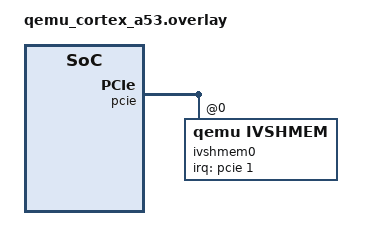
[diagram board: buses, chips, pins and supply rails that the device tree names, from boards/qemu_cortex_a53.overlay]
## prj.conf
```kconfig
CONFIG_HEAP_MEM_POOL_SIZE=16777216

CONFIG_LOG=y
CONFIG_LOG_MODE_IMMEDIATE=y
CONFIG_LOG_BACKEND_UART=y

CONFIG_POSIX_API=y

CONFIG_LOG_PRINTK=y

CONFIG_ETHERNET_LOG_LEVEL_INF=y
CONFIG_IVSHMEM_LOG_LEVEL_INF=y

CONFIG_NETWORKING=y
CONFIG_NET_L2_ETHERNET=y
CONFIG_ETH_IVSHMEM=y
CONFIG_NET_STATISTICS=y

CONFIG_NET_SOCKETS=y
CONFIG_NET_TCP=y
CONFIG_NET_IPV6=y
CONFIG_NET_IPV4=y
CONFIG_NET_ARP=y
CONFIG_NET_UDP=y
CONFIG_NET_DHCPV4=y
CONFIG_NET_DHCPV4_OPTION_CALLBACKS=y
CONFIG_NET_TCP_ISN_RFC6528=n

CONFIG_NET_MGMT=y
CONFIG_NET_MGMT_EVENT=y

CONFIG_NET_LOG=y
CONFIG_LOG=y

CONFIG_NET_SOCKETS_POLL_MAX=9

CONFIG_ENTROPY_GENERATOR=y
CONFIG_TEST_RANDOM_GENERATOR=y

CONFIG_INIT_STACKS=y

CONFIG_SLIP_STATISTICS=n
CONFIG_SLIP=n

CONFIG_SHELL=y
CONFIG_NET_SHELL=y
CONFIG_NET_ZPERF=y

CONFIG_NET_TCP_WORKQ_STACK_SIZE=4096
CONFIG_NET_RX_STACK_SIZE=4096
CONFIG_SHELL_STACK_SIZE=4096

CONFIG_NET_TCP_MAX_RECV_WINDOW_SIZE=5120
CONFIG_NET_PKT_TX_COUNT=60
CONFIG_NET_BUF_RX_COUNT=20


CONFIG_STATIC_INIT_GNU=y

########################
##COPIED BOARD OVERLAY##
########################

# Jailhouse requires ARMv8-A non-secure mode
CONFIG_ARMV8_A_NS=y

# QEMU PCI requires at least 256M of virtual space
CONFIG_KERNEL_VM_SIZE=0x80000000

# QEMU PCI requires physical addresses with more than 32 bits
CONFIG_ARM64_VA_BITS_40=y
CONFIG_ARM64_PA_BITS_40=y

# PCIe config
CONFIG_PCIE_CONTROLLER=y
CONFIG_PCIE_ECAM=y

# Required for PCIe INTx interrupts
CONFIG_DYNAMIC_INTERRUPTS=y

# Disable unwanted default configs
CONFIG_NET_DRIVERS=n
CONFIG_NET_SLIP_TAP=n
```

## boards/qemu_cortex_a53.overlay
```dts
/*
 * Copyright (c) 2023 Enphase Energy
 *
 * SPDX-License-Identifier: Apache-2.0
 */

/ {
	soc {
		/delete-node/ memory@40000000;

		sram0: memory@70000000 {
			compatible = "mmio-sram";
			reg = <0x0 0x70000000 0x0 DT_SIZE_M(128)>;
		};

		/delete-node/ pcie@4010000000;

		pcie: pcie@8e00000 {
			compatible = "pci-host-ecam-generic";
			device_type = "pci";
			reg = <0x00 0x08e00000 0x00 0x100000>;
			#size-cells = <0x02>;
			#address-cells = <0x03>;
			ranges = <0x02000000 0x00 0x10000000 0x0 0x10000000 0x00 0x10000>;
			#interrupt-cells = <0x01>;
			interrupt-map-mask = <0x00 0x00 0x00 0x07>;
			interrupt-map = <
				0x00 0x00 0x00 1 &gic 0 0 GIC_SPI 108 IRQ_TYPE_EDGE IRQ_DEFAULT_PRIORITY
				0x00 0x00 0x00 2 &gic 0 0 GIC_SPI 109 IRQ_TYPE_EDGE IRQ_DEFAULT_PRIORITY
				0x00 0x00 0x00 3 &gic 0 0 GIC_SPI 110 IRQ_TYPE_EDGE IRQ_DEFAULT_PRIORITY
				0x00 0x00 0x00 4 &gic 0 0 GIC_SPI 111 IRQ_TYPE_EDGE IRQ_DEFAULT_PRIORITY>;
			bus-range = <0x00 0x00>;
		};
	};

	eth_ivshmem0: eth_ivshmem {
		compatible = "siemens,ivshmem-eth";
		ivshmem-v2 = <&ivshmem0>;
		zephyr,random-mac-address;
		status = "okay";
	};
};

&pcie {
	ivshmem0: ivshmem@0 {
		compatible = "qemu,ivshmem";
		ivshmem-v2;
		vendor-id = <0x110A>;           /* Siemens */
		device-id = <0x4106>;           /* IVSHMEM */
		class-rev = <0xFF000100>;       /* PCI_CLASS_OTHERS | IVSHMEM_PROTO_NET */
		class-rev-mask = <0xFFFFFF00>;  /* PCI_CLASS_MASK | IVSHMEM_PROTO_MASK */
		interrupt-parent = <&pcie>;
		interrupts = <1 2 3 4>;
		reg = <0x00 0x00 0x00 0x00 0x01>;
		status = "okay";
	};
};
```

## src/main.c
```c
#include <rcl/rcl.h>
#include <rcl/error_handling.h>
#include <rclc/rclc.h>
#include <rclc/executor.h>

#include <rmw_microros/rmw_microros.h>
#include <microros_transports.h>

#include <std_msgs/msg/header.h>

#include <stdio.h>
#include <unistd.h>
#include <time.h>

#include <zephyr/device.h>
#include <zephyr/kernel.h>
#include <string.h>
#include <zephyr/logging/log.h>
LOG_MODULE_REGISTER(net_dhcpv4_client_sample, LOG_LEVEL_DBG);
#include <zephyr/linker/sections.h>
#include <errno.h>
#include <zephyr/net/net_if.h>
#include <zephyr/net/net_core.h>
#include <zephyr/net/net_context.h>
#include <zephyr/net/net_mgmt.h>
#include <zephyr.h>

#define STRING_BUFFER_LEN 50

#define RCCHECK(fn) { rcl_ret_t temp_rc = fn; if((temp_rc != RCL_RET_OK)){printf("Failed status on line %d: %d. Aborting.\n",__LINE__,(int)temp_rc); return 1;}}
#define RCSOFTCHECK(fn) { rcl_ret_t temp_rc = fn; if((temp_rc != RCL_RET_OK)){printf("Failed status on line %d: %d. Continuing.\n",__LINE__,(int)temp_rc);}}

#define DHCP_OPTION_NTP (42)

static uint8_t ntp_server[4];

static struct net_mgmt_event_callback mgmt_cb;

static struct net_dhcpv4_option_callback dhcp_cb;

rcl_publisher_t ping_publisher;
rcl_publisher_t pong_publisher;
rcl_subscription_t ping_subscriber;
rcl_subscription_t pong_subscriber;

std_msgs__msg__Header incoming_ping;
std_msgs__msg__Header outcoming_ping;
std_msgs__msg__Header incoming_pong;

int device_id;
int seq_no;
int pong_count;

void ping_timer_callback(rcl_timer_t * timer, int64_t last_call_time)
{
	(void) last_call_time;

	if (timer != NULL) {

		seq_no = rand();
		sprintf(outcoming_ping.frame_id.data, "%d_%d", seq_no, device_id);
		outcoming_ping.frame_id.size = strlen(outcoming_ping.frame_id.data);
		
		// Fill the message timestamp
		struct timespec ts;
		clock_gettime(CLOCK_REALTIME, &ts);
		outcoming_ping.stamp.sec = ts.tv_sec;
		outcoming_ping.stamp.nanosec = ts.tv_nsec;

		// Reset the pong count and publish the ping message
		pong_count = 0;
		rcl_publish(&ping_publisher, (const void*)&outcoming_ping, NULL);
		printf("Ping send seq %s\n", outcoming_ping.frame_id.data);  
	}
}

void ping_subscription_callback(const void * msgin)
{
	const std_msgs__msg__Header * msg = (const std_msgs__msg__Header *)msgin;

	// Dont pong my own pings
	if(strcmp(outcoming_ping.frame_id.data, msg->frame_id.data) != 0){
		printf("Ping received with seq %s. Answering.\n", msg->frame_id.data);
		rcl_publish(&pong_publisher, (const void*)msg, NULL);
	}
}


void pong_subscription_callback(const void * msgin)
{
	const std_msgs__msg__Header * msg = (const std_msgs__msg__Header *)msgin;

	if(strcmp(outcoming_ping.frame_id.data, msg->frame_id.data) == 0) {
			pong_count++;
			printf("Pong for seq %s (%d)\n", msg->frame_id.data, pong_count);
	}
}


static void start_dhcpv4_client(struct net_if *iface, void *user_data)
{
	ARG_UNUSED(user_data);

	LOG_INF("Start on %s: index=%d", net_if_get_device(iface)->name,
		net_if_get_by_iface(iface));
	net_dhcpv4_start(iface);
}

static void handler(struct net_mgmt_event_callback *cb,
		    uint32_t mgmt_event,
		    struct net_if *iface)
{
	int i = 0;

	if (mgmt_event != NET_EVENT_IPV4_ADDR_ADD) {
		return;
	}

	for (i = 0; i < NET_IF_MAX_IPV4_ADDR; i++) {
		char buf[NET_IPV4_ADDR_LEN];

		if (iface->config.ip.ipv4->unicast[i].ipv4.addr_type !=
							NET_ADDR_DHCP) {
			continue;
		}

		LOG_INF("   Address[%d]: %s", net_if_get_by_iface(iface),
			net_addr_ntop(AF_INET,
			    &iface->config.ip.ipv4->unicast[i].ipv4.address.in_addr,
						  buf, sizeof(buf)));
		LOG_INF("    Subnet[%d]: %s", net_if_get_by_iface(iface),
			net_addr_ntop(AF_INET,
				       &iface->config.ip.ipv4->unicast[i].netmask,
				       buf, sizeof(buf)));
		LOG_INF("    Router[%d]: %s", net_if_get_by_iface(iface),
			net_addr_ntop(AF_INET,
						 &iface->config.ip.ipv4->gw,
						 buf, sizeof(buf)));
		LOG_INF("Lease time[%d]: %u seconds", net_if_get_by_iface(iface),
			iface->config.dhcpv4.lease_time);
	}
}

static void option_handler(struct net_dhcpv4_option_callback *cb,
			   size_t length,
			   enum net_dhcpv4_msg_type msg_type,
			   struct net_if *iface)
{
	char buf[NET_IPV4_ADDR_LEN];

	LOG_INF("DHCP Option %d: %s", cb->option,
		net_addr_ntop(AF_INET, cb->data, buf, sizeof(buf)));
}



void main(void)
{

	LOG_INF("Run dhcpv4 client");

	net_mgmt_init_event_callback(&mgmt_cb, handler,
				     NET_EVENT_IPV4_ADDR_ADD);
	net_mgmt_add_event_callback(&mgmt_cb);

	net_dhcpv4_init_option_callback(&dhcp_cb, option_handler,
					DHCP_OPTION_NTP, ntp_server,
					sizeof(ntp_server));

	net_dhcpv4_add_option_callback(&dhcp_cb);

	net_if_foreach(start_dhcpv4_client, NULL);


	// Set custom transports
	rmw_uros_set_custom_transport(
		MICRO_ROS_FRAMING_REQUIRED,
		(void *) &default_params,
		zephyr_transport_open,
		zephyr_transport_close,
		zephyr_transport_write,
		zephyr_transport_read
	);


	// Init micro-ROS
	rcl_allocator_t allocator = rcl_get_default_allocator();
	rclc_support_t support;


	// create init_options, QUESTA FUNZIONE FALLISCE SEMPRE
	
	RCCHECK(rclc_support_init(&support, 0, NULL, &allocator));

	// create node
	rcl_node_t node;
	RCCHECK(rclc_node_init_default(&node, "pingpong_node", "", &support));

	// Create a reliable ping publisher
	RCCHECK(rclc_publisher_init_default(&ping_publisher, &node, ROSIDL_GET_MSG_TYPE_SUPPORT(std_msgs, msg, Header), "/microROS/ping"));

	// Create a best effort pong publisher
	RCCHECK(rclc_publisher_init_best_effort(&pong_publisher, &node, ROSIDL_GET_MSG_TYPE_SUPPORT(std_msgs, msg, Header), "/microROS/pong"));

	// Create a best effort ping subscriber
	RCCHECK(rclc_subscription_init_best_effort(&ping_subscriber, &node, ROSIDL_GET_MSG_TYPE_SUPPORT(std_msgs, msg, Header), "/microROS/ping"));

	// Create a best effort  pong subscriber
	RCCHECK(rclc_subscription_init_best_effort(&pong_subscriber, &node, ROSIDL_GET_MSG_TYPE_SUPPORT(std_msgs, msg, Header), "/microROS/pong"));


	// Create a 3 seconds ping timer timer,
	rcl_timer_t timer;
	RCCHECK(rclc_timer_init_default(&timer, &support, RCL_MS_TO_NS(2000), ping_timer_callback));


	// Create executor
	rclc_executor_t executor;
	RCCHECK(rclc_executor_init(&executor, &support.context, 3, &allocator));
	RCCHECK(rclc_executor_add_timer(&executor, &timer));
	RCCHECK(rclc_executor_add_subscription(&executor, &ping_subscriber, &incoming_ping, &ping_subscription_callback, ON_NEW_DATA));
	RCCHECK(rclc_executor_add_subscription(&executor, &pong_subscriber, &incoming_pong, &pong_subscription_callback, ON_NEW_DATA));

	// Create and allocate the pingpong messages

	char outcoming_ping_buffer[STRING_BUFFER_LEN];
	outcoming_ping.frame_id.data = outcoming_ping_buffer;
	outcoming_ping.frame_id.capacity = STRING_BUFFER_LEN;

	char incoming_ping_buffer[STRING_BUFFER_LEN];
	incoming_ping.frame_id.data = incoming_ping_buffer;
	incoming_ping.frame_id.capacity = STRING_BUFFER_LEN;

	char incoming_pong_buffer[STRING_BUFFER_LEN];
	incoming_pong.frame_id.data = incoming_pong_buffer;
	incoming_pong.frame_id.capacity = STRING_BUFFER_LEN;

	device_id = rand();


	while(1){
		rclc_executor_spin_some(&executor, RCL_MS_TO_NS(100));
	
		usleep(100000);
	}	
	
	RCCHECK(rcl_publisher_fini(&ping_publisher, &node));
	RCCHECK(rcl_publisher_fini(&pong_publisher, &node));
	RCCHECK(rcl_subscription_fini(&ping_subscriber, &node));
	RCCHECK(rcl_subscription_fini(&pong_subscriber, &node));
	RCCHECK(rcl_node_fini(&node));
	
}
```
